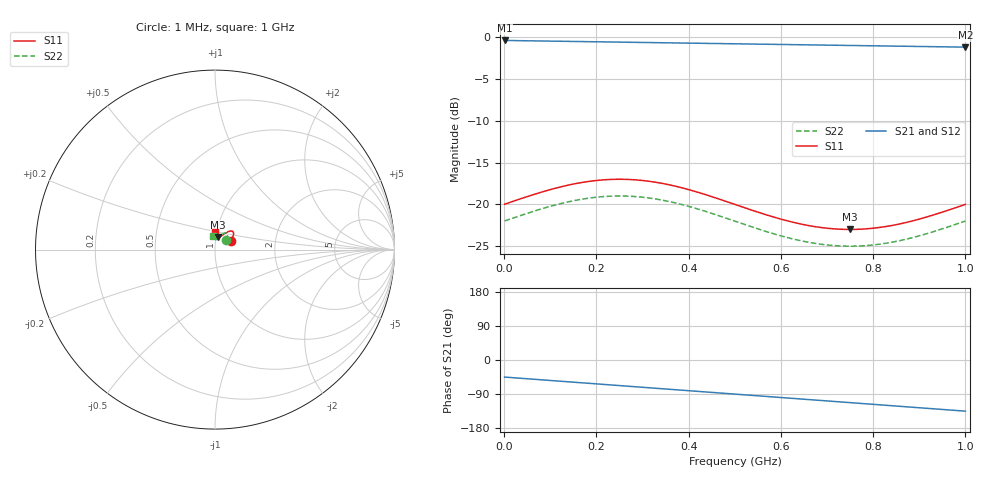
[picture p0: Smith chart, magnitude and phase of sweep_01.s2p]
! Synthetic S2P fixture: sweep_01.s2p
! Generated for testing purposes
# MHZ S DB R 50
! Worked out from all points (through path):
!   101 points, 1 MHz to 1 GHz, reference 50 ohm
!   highest |S21| = -0.40 dB at 1 MHz (marker M1); lowest = -1.2 dB at 1 GHz (marker M2)
!   lowest |S11| = -23.0 dB at 750.2 MHz (marker M3), VSWR 1.15, Z = 51.4 + j7.06 ohm
!   |S11| at or under -10 dB: start of sweep to end of sweep
!   |S22| runs from -25.0 to -19.0 dB; largest |S21 - S12| = 0
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1  -19.98 30.1  -0.40 -45.1  -0.40 -45.1  -21.98 40.1
100.9  -18.22 36.1  -0.48 -54.1  -0.48 -54.1  -20.22 46.1
140.86  -17.68 38.5  -0.51 -57.7  -0.51 -57.7  -19.68 48.5
170.83  -17.36 40.2  -0.54 -60.4  -0.54 -60.4  -19.36 50.2
210.79  -17.09 42.6  -0.57 -64.0  -0.57 -64.0  -19.09 52.6
250.75  -17.00 45.0  -0.60 -67.6  -0.60 -67.6  -19.00 55.0
290.71  -17.10 47.4  -0.63 -71.2  -0.63 -71.2  -19.10 57.4
340.66  -17.47 50.4  -0.67 -75.7  -0.67 -75.7  -19.47 60.4
370.63  -17.82 52.2  -0.70 -78.4  -0.70 -78.4  -19.82 62.2
410.59  -18.40 54.6  -0.73 -82.0  -0.73 -82.0  -20.40 64.6
500.5  -20.01 60.0  -0.80 -90.0  -0.80 -90.0  -22.01 70.0
550.45  -20.94 63.0  -0.84 -94.5  -0.84 -94.5  -22.94 73.0
600.4  -21.77 66.0  -0.88 -99.0  -0.88 -99.0  -23.77 76.0
640.36  -22.32 68.4  -0.91 -102.6  -0.91 -102.6  -24.32 78.4
670.33  -22.63 70.2  -0.94 -105.3  -0.94 -105.3  -24.63 80.2
710.29  -22.91 72.6  -0.97 -108.9  -0.97 -108.9  -24.91 82.6
750.25  -23.00 75.0  -1.00 -112.5  -1.00 -112.5  -25.00 85.0
790.21  -22.90 77.4  -1.03 -116.1  -1.03 -116.1  -24.90 87.4
840.16  -22.53 80.4  -1.07 -120.6  -1.07 -120.6  -24.53 90.4
870.13  -22.19 82.2  -1.10 -123.3  -1.10 -123.3  -24.19 92.2
910.09  -21.61 84.6  -1.13 -126.9  -1.13 -126.9  -23.61 94.6
1000  -20.00 90.0  -1.20 -135.0  -1.20 -135.0  -22.00 100.0
